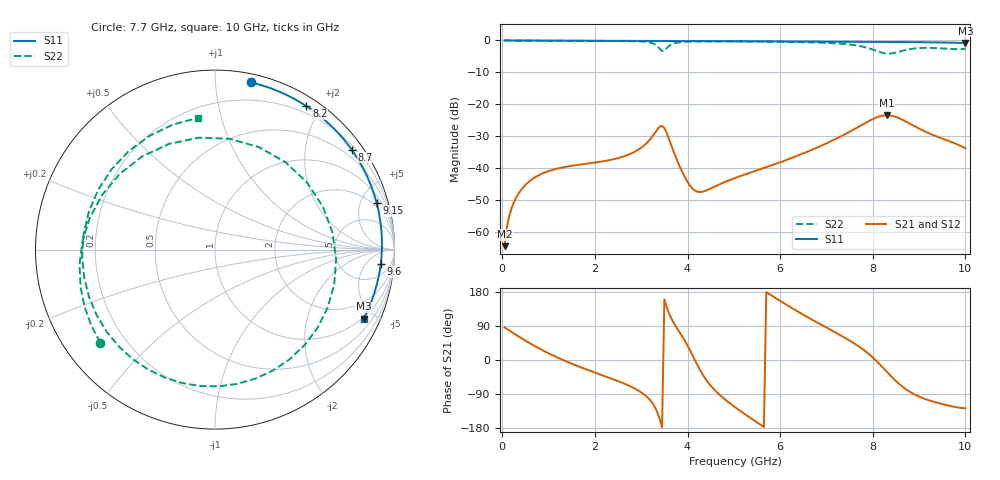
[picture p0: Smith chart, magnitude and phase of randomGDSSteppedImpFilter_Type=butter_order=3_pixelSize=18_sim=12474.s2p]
! freq	dB(S11)	phase(S11)	dB(S12)	phase(S12)
!  dB(S21)	phase(S21)	dB(S22)	phase(S22)
!S-par simulation data
#  GHz  S  DB  R 50
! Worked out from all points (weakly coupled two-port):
!   200 points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, 50 MHz to 10 GHz, reference 50 ohm
!   highest |S21| = -23.47 dB at 8.3 GHz (marker M1); lowest = -64.5 dB at 50 MHz (marker M2)
!   lowest |S11| = -0.8 dB at 10 GHz (marker M3), VSWR 21.85, Z = 47.1 - j217 ohm
!   |S11| at or under -10 dB: nowhere
!   |S22| runs from -4.1 to 0.0 dB; largest |S21 - S12| = 0
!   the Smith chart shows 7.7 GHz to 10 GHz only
!   S11 on the Smith chart (normalised r, x): 7.7 GHz: 0.06, +1.24; 8.2 GHz: 0.12, +1.82; 8.7 GHz: 0.30, +3.03; 9.15 GHz: 1.56, +6.69; 9.6 GHz: 12, -13; 10 GHz: 0.94, -4.33
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0.05  -0.00 -2.2  -64.54 86.0  -64.54 86.0  -0.00 -6.0
0.25  -0.01 -10.8  -50.80 69.9  -50.80 69.9  -0.04 -29.3
0.75  -0.04 -31.9  -42.58 33.5  -42.58 33.5  -0.10 -82.0
1.75  -0.09 -72.3  -38.81 -21.8  -38.81 -21.8  -0.13 -158.4
2.55  -0.12 -102.2  -36.70 -58.1  -36.70 -58.1  -0.18 152.3
3.1  -0.15 -121.7  -32.45 -94.8  -32.45 -94.8  -0.45 104.1
3.3  -0.16 -128.5  -28.94 -125.4  -28.94 -125.4  -1.24 58.9
3.4  -0.17 -131.9  -27.06 -156.1  -27.06 -156.1  -2.60 4.4
3.5  -0.17 -135.2  -27.48 160.0  -27.48 160.0  -3.19 -88.3
3.7  -0.17 -141.9  -34.86 98.3  -34.86 98.3  -0.95 169.7
4.2  -0.19 -158.5  -47.39 -10.0  -47.39 -10.0  -0.33 109.2
5.05  -0.24 173.4  -43.02 -126.7  -43.02 -126.7  -0.31 55.3
5.9  -0.30 144.8  -38.76 163.6  -38.76 163.6  -0.40 4.2
6.7  -0.35 116.3  -34.22 105.7  -34.22 105.7  -0.60 -48.1
7.7  -0.42 77.9  -27.03 35.6  -27.03 35.6  -1.70 -141.0
8.2  -0.47 57.5  -23.62 -17.5  -23.62 -17.5  -3.85 113.5
8.3  -0.47 53.3  -23.47 -30.6  -23.47 -30.6  -4.11 82.5
8.35  -0.48 51.2  -23.50 -37.1  -23.50 -37.1  -4.13 66.7
8.7  -0.51 36.2  -25.32 -75.8  -25.32 -75.8  -3.03 -27.0
9.15  -0.56 16.2  -28.70 -103.7  -28.70 -103.7  -2.32 -103.9
9.6  -0.66 -4.9  -31.32 -119.3  -31.32 -119.3  -2.60 -177.3
10  -0.80 -24.9  -33.79 -127.4  -33.79 -127.4  -2.61 97.3
